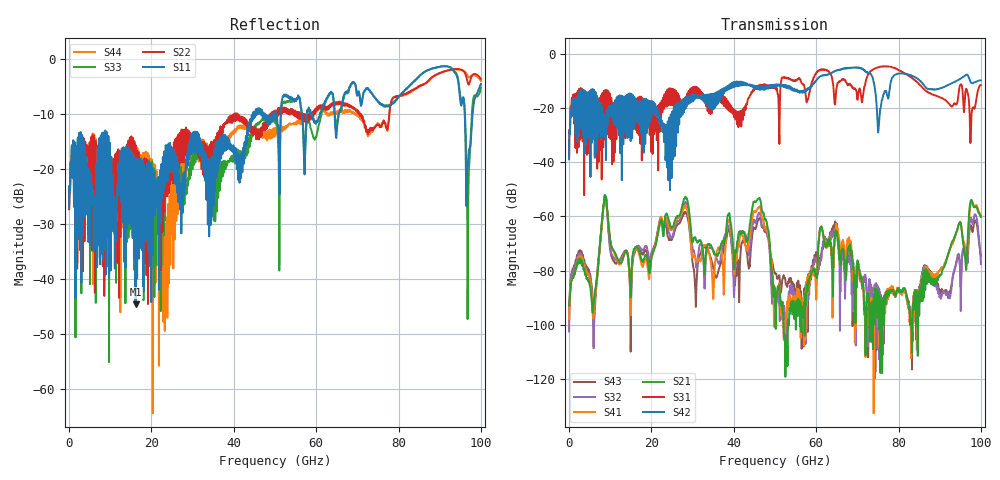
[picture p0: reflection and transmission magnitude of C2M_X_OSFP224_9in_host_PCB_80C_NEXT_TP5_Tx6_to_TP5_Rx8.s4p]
# GHz S RI R 45
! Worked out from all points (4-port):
!   4000 points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, 25 MHz to 100 GHz, reference 45 ohm
!   strongest paths, dB at 25 MHz, 25.02 GHz, 50.02 GHz, 75.03 GHz, 100 GHz:
!     S42: -39.0, -22.4, -11.4, -28.9, -9.8
!     S31: -37.8, -15.4, -12.1, -5.0, -11.6
!     S21: -92.8, -64.3, -91.0, -87.7, -60.2
!     S41: -98.0, -64.8, -91.8, -100.5, -59.8
!     S32: -102.4, -67.7, -88.6, -88.1, -77.5
!     S43: -98.5, -68.3, -80.8, -89.6, -74.6
!   lowest |S11| = -44.6 dB at 16.15 GHz (marker M1), VSWR 1.01, Z = 44.5 - j0.054 ohm
!   |S11| at or under -10 dB: start of sweep to 44.63 GHz; 58.96 GHz to 60.91 GHz (1.943 GHz wide, 3.24 % of centre); 96.08 GHz to 98 GHz (1.928 GHz wide, 1.99 % of centre) (the widest 3 of 16)
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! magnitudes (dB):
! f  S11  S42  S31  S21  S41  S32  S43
! 25 MHz  -27.0  -39.0  -37.8  -92.8  -98.0  -102.4  -98.5
! 6.625 GHz  -20.2  -36.5  -23.7  -84.3  -85.0  -84.2  -86.0
! 8.7 GHz  -18.5  -25.4  -20.5  -52.1  -52.6  -52.4  -52.8
! 16.15 GHz  -44.6  -18.3  -22.1  -71.3  -72.0  -71.7  -72.5
! 46 GHz  -9.6  -12.1  -12.3  -53.4  -56.7  -59.1  -61.1
! 89.53 GHz  -1.5  -13.0  -15.7  -83.3  -80.7  -86.8  -85.6
! 100 GHz  -4.6  -9.8  -11.6  -60.2  -59.8  -77.5  -74.6
